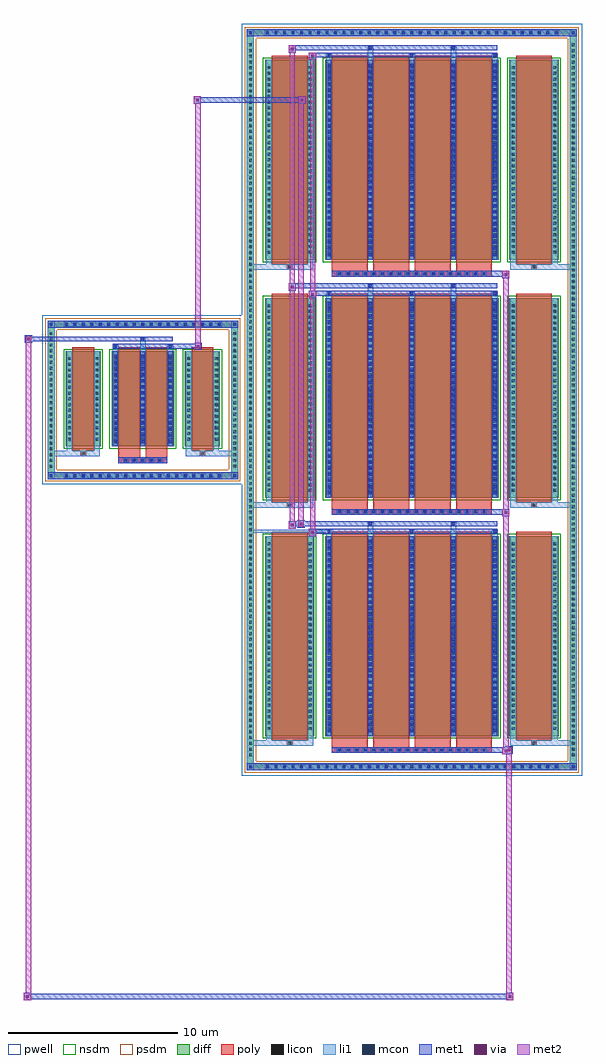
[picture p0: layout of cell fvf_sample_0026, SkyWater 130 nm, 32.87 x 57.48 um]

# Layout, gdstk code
import gdstk
lib = gdstk.Library(unit=1e-6, precision=1e-09)
def R(c, l, rs):  # rectangles x0, y0, x1, y1
    for r in rs: c.add(gdstk.rectangle(r[:2], r[2:], *l))
def A(c, l, x, y, w, h, nx, ny, dx, dy):  # array of equal rectangles
    R(c, l, [(x+i*dx, y+j*dy, x+i*dx+w, y+j*dy+h) for i in range(nx) for j in range(ny)])
def P(c, l, *ps):  # polygons
    for p in ps: c.add(gdstk.Polygon(p, *l))
pwell = (64, 44)
diff = (65, 20)
poly = (66, 20)
licon = (66, 44)
li1 = (67, 20)
mcon = (67, 44)
met1 = (68, 20)
via = (68, 44)
met2 = (69, 20)
nsdm = (93, 44)
psdm = (94, 20)

fvf_sample_0026 = lib.new_cell('fvf_sample_0026')
R(fvf_sample_0026, pwell, [(5.823,-22.136,25.865,22.136), (-5.923,-4.977,5.923,4.977)])
A(fvf_sample_0026, diff, 7.139, -21.826, 0.41, 0.41, 35, 2, 0.5, 43.242)
A(fvf_sample_0026, diff, 6.133, -21.115, 0.41, 0.41, 1, 124, 0, 0.34)
A(fvf_sample_0026, diff, 25.145, -21.115, 0.41, 0.41, 1, 124, 0, 0.34)
A(fvf_sample_0026, diff, 7.203, -19.805, 2.892, 11.778, 1, 3, 0, 14.024)
A(fvf_sample_0026, diff, 10.735, -19.805, 10.218, 11.778, 1, 3, 0, 14.024)
A(fvf_sample_0026, diff, 21.593, -19.805, 2.892, 11.778, 1, 3, 0, 14.024)
A(fvf_sample_0026, diff, -4.705, -4.667, 0.41, 0.41, 19, 2, 0.5, 8.924)
A(fvf_sample_0026, diff, -5.613, -4.115, 0.41, 0.41, 1, 24, 0, 0.34)
A(fvf_sample_0026, diff, 5.203, -4.115, 0.41, 0.41, 1, 24, 0, 0.34)
R(fvf_sample_0026, diff, [(7.139,-21.826,24.549,-21.416), (6.133,-21.115,6.543,21.115), (25.145,-21.115,25.555,21.115), (-4.705,-4.667,4.705,-4.257), (-5.613,-4.115,-5.203,4.115), (5.203,-4.115,5.613,4.115), (-4.543,-2.746,-2.479,2.862), (-1.839,-2.746,1.839,2.862), (2.479,-2.746,4.543,2.862), (-4.705,4.257,4.705,4.667), (7.139,21.416,24.549,21.826)])
P(fvf_sample_0026, diff, [(5.613,4.667),(-5.613,4.667),(-5.613,-4.257),(-5.203,-4.257),(-5.203,4.257),(5.203,4.257),(5.203,-4.257),(-5.203,-4.257),(-5.613,-4.257),(-5.613,-4.667),(5.613,-4.667)],
  [(25.555,21.826),(6.133,21.826),(6.133,-21.416),(6.543,-21.416),(6.543,21.416),(25.145,21.416),(25.145,-21.416),(6.543,-21.416),(6.133,-21.416),(6.133,-21.826),(25.555,-21.826)])
A(fvf_sample_0026, poly, 11.125, -20.786, 9.438, 0.33, 1, 3, 0, 14.024)
A(fvf_sample_0026, poly, 11.429, -20.786, 0.33, 0.33, 18, 3, 0.5, 14.024)
A(fvf_sample_0026, poly, 11.125, -20.456, 2.112, 0.401, 4, 3, 2.442, 14.024)
A(fvf_sample_0026, poly, 7.593, -20.055, 2.112, 12.278, 1, 3, 0, 14.024)
A(fvf_sample_0026, poly, 11.125, -20.055, 2.112, 12.278, 4, 3, 2.442, 14.024)
A(fvf_sample_0026, poly, 21.983, -20.055, 2.112, 12.278, 1, 3, 0, 14.024)
A(fvf_sample_0026, poly, -1.165, -3.726, 0.33, 0.33, 5, 1, 0.5, 0)
R(fvf_sample_0026, poly, [(8.484,-20.385,8.814,-20.055), (8.484,-20.385,8.814,-20.055), (22.874,-20.385,23.204,-20.055), (22.874,-20.385,23.204,-20.055), (8.484,-6.361,8.814,-6.031), (8.484,-6.361,8.814,-6.031), (22.874,-6.361,23.204,-6.031), (22.874,-6.361,23.204,-6.031), (-1.449,-3.726,1.449,-3.396), (-1.449,-3.396,-0.165,-2.996), (0.165,-3.396,1.449,-2.996), (-3.676,-3.326,-3.346,-2.996), (-3.676,-3.326,-3.346,-2.996), (3.346,-3.326,3.676,-2.996), (3.346,-3.326,3.676,-2.996), (-4.153,-2.996,-2.869,3.112), (-1.449,-2.996,-0.165,3.112), (0.165,-2.996,1.449,3.112), (2.869,-2.996,4.153,3.112), (8.484,7.663,8.814,7.993), (8.484,7.663,8.814,7.993), (22.874,7.663,23.204,7.993), (22.874,7.663,23.204,7.993)])
A(fvf_sample_0026, licon, 7.259, -21.706, 0.17, 0.17, 35, 2, 0.5, 43.242)
A(fvf_sample_0026, licon, 6.253, -20.995, 0.17, 0.17, 1, 124, 0, 0.34)
A(fvf_sample_0026, licon, 25.265, -20.995, 0.17, 0.17, 1, 124, 0, 0.34)
A(fvf_sample_0026, licon, 11.509, -20.706, 0.17, 0.17, 18, 3, 0.5, 14.024)
A(fvf_sample_0026, licon, 8.564, -20.305, 0.17, 0.17, 1, 3, 0, 14.024)
A(fvf_sample_0026, licon, 22.954, -20.305, 0.17, 0.17, 1, 3, 0, 14.024)
A(fvf_sample_0026, licon, 7.343, -19.441, 0.17, 0.17, 1, 33, 0, 0.34)
A(fvf_sample_0026, licon, 9.785, -19.441, 0.17, 0.17, 1, 33, 0, 0.34)
A(fvf_sample_0026, licon, 10.875, -19.441, 0.17, 0.17, 5, 33, 2.442, 0.34)
A(fvf_sample_0026, licon, 21.733, -19.441, 0.17, 0.17, 1, 33, 0, 0.34)
A(fvf_sample_0026, licon, 24.175, -19.441, 0.17, 0.17, 1, 33, 0, 0.34)
A(fvf_sample_0026, licon, 7.343, -5.417, 0.17, 0.17, 1, 33, 0, 0.34)
A(fvf_sample_0026, licon, 9.785, -5.417, 0.17, 0.17, 1, 33, 0, 0.34)
A(fvf_sample_0026, licon, 10.875, -5.417, 0.17, 0.17, 5, 33, 2.442, 0.34)
A(fvf_sample_0026, licon, 21.733, -5.417, 0.17, 0.17, 1, 33, 0, 0.34)
A(fvf_sample_0026, licon, 24.175, -5.417, 0.17, 0.17, 1, 33, 0, 0.34)
A(fvf_sample_0026, licon, -4.585, -4.547, 0.17, 0.17, 19, 2, 0.5, 8.924)
A(fvf_sample_0026, licon, -5.493, -3.995, 0.17, 0.17, 1, 24, 0, 0.34)
A(fvf_sample_0026, licon, 5.323, -3.995, 0.17, 0.17, 1, 24, 0, 0.34)
A(fvf_sample_0026, licon, -1.085, -3.646, 0.17, 0.17, 5, 1, 0.5, 0)
A(fvf_sample_0026, licon, -4.403, -2.407, 0.17, 0.17, 1, 15, 0, 0.34)
A(fvf_sample_0026, licon, -2.789, -2.407, 0.17, 0.17, 1, 15, 0, 0.34)
A(fvf_sample_0026, licon, -1.699, -2.407, 0.17, 0.17, 3, 15, 1.614, 0.34)
A(fvf_sample_0026, licon, 2.619, -2.407, 0.17, 0.17, 1, 15, 0, 0.34)
A(fvf_sample_0026, licon, 4.233, -2.407, 0.17, 0.17, 1, 15, 0, 0.34)
A(fvf_sample_0026, licon, 7.343, 8.607, 0.17, 0.17, 1, 33, 0, 0.34)
A(fvf_sample_0026, licon, 9.785, 8.607, 0.17, 0.17, 1, 33, 0, 0.34)
A(fvf_sample_0026, licon, 10.875, 8.607, 0.17, 0.17, 5, 33, 2.442, 0.34)
A(fvf_sample_0026, licon, 21.733, 8.607, 0.17, 0.17, 1, 33, 0, 0.34)
A(fvf_sample_0026, licon, 24.175, 8.607, 0.17, 0.17, 1, 33, 0, 0.34)
R(fvf_sample_0026, licon, [(-3.596,-3.246,-3.426,-3.076), (3.426,-3.246,3.596,-3.076)])
A(fvf_sample_0026, li1, 7.179, -21.786, 0.33, 0.33, 35, 2, 0.5, 43.242)
A(fvf_sample_0026, li1, 6.173, -21.075, 0.33, 0.33, 1, 124, 0, 0.34)
A(fvf_sample_0026, li1, 25.185, -21.075, 0.33, 0.33, 1, 124, 0, 0.34)
A(fvf_sample_0026, li1, 11.429, -20.786, 0.33, 0.33, 18, 3, 0.5, 14.024)
A(fvf_sample_0026, li1, 6.133, -20.385, 2.351, 0.33, 1, 3, 0, 14.024)
A(fvf_sample_0026, li1, 7.263, -20.385, 0.33, 0.58, 1, 3, 0, 14.024)
A(fvf_sample_0026, li1, 7.263, -20.385, 1.221, 0.33, 1, 3, 0, 14.024)
A(fvf_sample_0026, li1, 8.484, -20.385, 0.33, 0.33, 1, 3, 0, 14.024)
A(fvf_sample_0026, li1, 8.814, -20.385, 1.221, 0.33, 1, 3, 0, 14.024)
A(fvf_sample_0026, li1, 9.705, -20.385, 0.33, 0.58, 1, 3, 0, 14.024)
A(fvf_sample_0026, li1, 21.653, -20.385, 0.33, 0.58, 1, 3, 0, 14.024)
A(fvf_sample_0026, li1, 21.653, -20.385, 1.221, 0.33, 1, 3, 0, 14.024)
A(fvf_sample_0026, li1, 22.874, -20.385, 0.33, 0.33, 1, 3, 0, 14.024)
A(fvf_sample_0026, li1, 22.874, -20.385, 2.681, 0.33, 1, 3, 0, 14.024)
A(fvf_sample_0026, li1, 23.204, -20.385, 1.221, 0.33, 1, 3, 0, 14.024)
A(fvf_sample_0026, li1, 24.095, -20.385, 0.33, 0.58, 1, 3, 0, 14.024)
A(fvf_sample_0026, li1, 7.263, -19.805, 0.33, 11.778, 1, 3, 0, 14.024)
A(fvf_sample_0026, li1, 9.705, -19.805, 0.33, 11.778, 1, 3, 0, 14.024)
A(fvf_sample_0026, li1, 10.795, -19.805, 0.33, 11.778, 5, 3, 2.442, 14.024)
A(fvf_sample_0026, li1, 21.653, -19.805, 0.33, 11.778, 1, 3, 0, 14.024)
A(fvf_sample_0026, li1, 24.095, -19.805, 0.33, 11.778, 1, 3, 0, 14.024)
A(fvf_sample_0026, li1, 10.875, -19.581, 0.17, 0.17, 5, 32, 2.442, 0.36)
A(fvf_sample_0026, li1, 10.875, -19.581, 0.17, 11.33, 5, 3, 2.442, 14.024)
A(fvf_sample_0026, li1, 7.263, -19.521, 0.33, 0.33, 1, 33, 0, 0.34)
A(fvf_sample_0026, li1, 9.705, -19.521, 0.33, 0.33, 1, 33, 0, 0.34)
A(fvf_sample_0026, li1, 10.795, -19.521, 0.33, 0.33, 5, 33, 2.442, 0.34)
A(fvf_sample_0026, li1, 21.653, -19.521, 0.33, 0.33, 1, 33, 0, 0.34)
A(fvf_sample_0026, li1, 24.095, -19.521, 0.33, 0.33, 1, 33, 0, 0.34)
A(fvf_sample_0026, li1, 10.795, -8.027, 0.33, 0.375, 3, 3, 4.884, 14.024)
A(fvf_sample_0026, li1, 13.237, -8.027, 0.33, 0.805, 1, 3, 0, 14.024)
A(fvf_sample_0026, li1, 18.121, -8.027, 0.33, 0.805, 1, 3, 0, 14.024)
A(fvf_sample_0026, li1, 10.875, -7.822, 0.17, 0.17, 3, 3, 4.884, 14.024)
A(fvf_sample_0026, li1, 13.317, -7.392, 0.17, 0.17, 1, 3, 0, 14.024)
A(fvf_sample_0026, li1, 18.201, -7.392, 0.17, 0.17, 1, 3, 0, 14.024)
A(fvf_sample_0026, li1, 10.875, -5.557, 0.17, 0.17, 5, 32, 2.442, 0.36)
A(fvf_sample_0026, li1, 7.263, -5.497, 0.33, 0.33, 1, 33, 0, 0.34)
A(fvf_sample_0026, li1, 9.705, -5.497, 0.33, 0.33, 1, 33, 0, 0.34)
A(fvf_sample_0026, li1, 10.795, -5.497, 0.33, 0.33, 5, 33, 2.442, 0.34)
A(fvf_sample_0026, li1, 21.653, -5.497, 0.33, 0.33, 1, 33, 0, 0.34)
A(fvf_sample_0026, li1, 24.095, -5.497, 0.33, 0.33, 1, 33, 0, 0.34)
A(fvf_sample_0026, li1, -4.665, -4.627, 0.33, 0.33, 19, 2, 0.5, 8.924)
A(fvf_sample_0026, li1, -5.573, -4.075, 0.33, 0.33, 1, 24, 0, 0.34)
A(fvf_sample_0026, li1, 5.243, -4.075, 0.33, 0.33, 1, 24, 0, 0.34)
A(fvf_sample_0026, li1, -1.165, -3.726, 0.33, 0.33, 5, 1, 0.5, 0)
A(fvf_sample_0026, li1, -1.779, -2.746, 0.33, 5.608, 3, 1, 1.614, 0)
A(fvf_sample_0026, li1, -1.699, -2.547, 0.17, 0.17, 3, 15, 1.614, 0.36)
A(fvf_sample_0026, li1, -1.699, -2.547, 0.17, 5.21, 3, 1, 1.614, 0)
A(fvf_sample_0026, li1, -4.483, -2.487, 0.33, 0.33, 1, 15, 0, 0.34)
A(fvf_sample_0026, li1, -2.869, -2.487, 0.33, 0.33, 1, 15, 0, 0.34)
A(fvf_sample_0026, li1, -1.779, -2.487, 0.33, 0.33, 3, 15, 1.614, 0.34)
A(fvf_sample_0026, li1, 2.539, -2.487, 0.33, 0.33, 1, 15, 0, 0.34)
A(fvf_sample_0026, li1, 4.153, -2.487, 0.33, 0.33, 1, 15, 0, 0.34)
A(fvf_sample_0026, li1, 10.875, 8.467, 0.17, 0.17, 5, 32, 2.442, 0.36)
A(fvf_sample_0026, li1, 7.263, 8.527, 0.33, 0.33, 1, 33, 0, 0.34)
A(fvf_sample_0026, li1, 9.705, 8.527, 0.33, 0.33, 1, 33, 0, 0.34)
A(fvf_sample_0026, li1, 10.795, 8.527, 0.33, 0.33, 5, 33, 2.442, 0.34)
A(fvf_sample_0026, li1, 21.653, 8.527, 0.33, 0.33, 1, 33, 0, 0.34)
A(fvf_sample_0026, li1, 24.095, 8.527, 0.33, 0.33, 1, 33, 0, 0.34)
R(fvf_sample_0026, li1, [(6.133,-21.826,6.543,-21.416), (25.145,-21.826,25.555,-21.416), (7.179,-21.786,24.509,-21.456), (6.253,-21.706,6.423,-21.536), (6.253,-21.706,6.423,-21.536), (25.265,-21.706,25.435,-21.536), (25.265,-21.706,25.435,-21.536), (6.133,-21.416,6.543,21.416), (25.145,-21.416,25.555,21.416), (10.815,-7.882,11.105,-7.592), (6.133,-7.837,10.815,-7.637), (10.875,-7.822,11.045,-7.652), (-5.613,-4.667,-5.203,-4.257), (5.203,-4.667,5.613,-4.257), (-4.665,-4.627,4.665,-4.297), (-5.493,-4.547,-5.323,-4.377), (-5.493,-4.547,-5.323,-4.377), (5.323,-4.547,5.493,-4.377), (5.323,-4.547,5.493,-4.377), (-5.613,-4.257,-5.203,4.257), (5.203,-4.257,5.613,4.257), (-5.613,-3.326,-3.676,-2.996), (-4.483,-3.326,-3.676,-2.996), (-4.483,-3.326,-4.153,-2.746), (-3.676,-3.326,-3.346,-2.996), (-3.346,-3.326,-2.539,-2.996), (-2.869,-3.326,-2.539,-2.746), (2.539,-3.326,3.346,-2.996), (2.539,-3.326,2.869,-2.746), (3.346,-3.326,3.676,-2.996), (3.346,-3.326,5.613,-2.996), (3.676,-3.326,4.483,-2.996), (4.153,-3.326,4.483,-2.746), (-4.483,-2.746,-4.153,2.862), (-2.869,-2.746,-2.539,2.862), (2.539,-2.746,2.869,2.862), (4.153,-2.746,4.483,2.862), (-1.779,2.862,-1.449,3.237), (-0.165,2.862,0.165,3.667), (1.449,2.862,1.779,3.237), (-1.699,3.067,-1.529,3.237), (1.529,3.067,1.699,3.237), (-0.085,3.497,0.085,3.667), (-5.613,4.257,-5.203,4.667), (5.203,4.257,5.613,4.667), (-4.665,4.297,4.665,4.627), (-5.493,4.377,-5.323,4.547), (-5.493,4.377,-5.323,4.547), (5.323,4.377,5.493,4.547), (5.323,4.377,5.493,4.547), (6.133,21.416,6.543,21.826), (25.145,21.416,25.555,21.826), (7.179,21.456,24.509,21.786), (6.253,21.536,6.423,21.706), (6.253,21.536,6.423,21.706), (25.265,21.536,25.435,21.706), (25.265,21.536,25.435,21.706)])
A(fvf_sample_0026, mcon, 7.259, -21.706, 0.17, 0.17, 35, 2, 0.5, 43.242)
A(fvf_sample_0026, mcon, 11.509, -20.706, 0.17, 0.17, 18, 3, 0.5, 14.024)
A(fvf_sample_0026, mcon, 10.875, -19.581, 0.17, 0.17, 5, 32, 2.442, 0.36)
A(fvf_sample_0026, mcon, 10.875, -7.822, 0.17, 0.17, 3, 3, 4.884, 14.024)
A(fvf_sample_0026, mcon, 13.317, -7.392, 0.17, 0.17, 1, 3, 0, 14.024)
A(fvf_sample_0026, mcon, 18.201, -7.392, 0.17, 0.17, 1, 3, 0, 14.024)
A(fvf_sample_0026, mcon, 10.875, -5.557, 0.17, 0.17, 5, 32, 2.442, 0.36)
A(fvf_sample_0026, mcon, -4.585, -4.547, 0.17, 0.17, 19, 2, 0.5, 8.924)
A(fvf_sample_0026, mcon, -1.085, -3.646, 0.17, 0.17, 5, 1, 0.5, 0)
A(fvf_sample_0026, mcon, -1.699, -2.547, 0.17, 0.17, 3, 15, 1.614, 0.36)
A(fvf_sample_0026, mcon, 10.875, 8.467, 0.17, 0.17, 5, 32, 2.442, 0.36)
R(fvf_sample_0026, mcon, [(6.253,-21.706,6.423,-21.536), (25.265,-21.706,25.435,-21.536), (10.875,-7.822,11.045,-7.652), (-5.493,-4.547,-5.323,-4.377), (5.323,-4.547,5.493,-4.377), (-1.699,3.067,-1.529,3.237), (1.529,3.067,1.699,3.237), (-0.085,3.497,0.085,3.667), (-5.493,4.377,-5.323,4.547), (5.323,4.377,5.493,4.547), (6.253,21.536,6.423,21.706), (25.265,21.536,25.435,21.706)])
A(fvf_sample_0026, met1, 7.199, -21.766, 0.29, 0.29, 35, 2, 0.5, 43.242)
A(fvf_sample_0026, met1, 11.125, -20.786, 9.438, 0.33, 1, 3, 0, 14.024)
A(fvf_sample_0026, met1, 11.449, -20.766, 0.29, 0.29, 18, 3, 0.5, 14.024)
A(fvf_sample_0026, met1, 10.815, -19.805, 0.29, 11.778, 5, 3, 2.442, 14.024)
A(fvf_sample_0026, met1, 10.815, -19.641, 0.29, 0.29, 5, 32, 2.442, 0.36)
A(fvf_sample_0026, met1, 10.815, -7.882, 0.29, 0.29, 3, 3, 4.884, 14.024)
A(fvf_sample_0026, met1, 13.257, -7.452, 0.29, 0.29, 1, 3, 0, 14.024)
A(fvf_sample_0026, met1, 18.141, -7.452, 0.29, 0.29, 1, 3, 0, 14.024)
A(fvf_sample_0026, met1, 10.815, -5.617, 0.29, 0.29, 5, 32, 2.442, 0.36)
A(fvf_sample_0026, met1, -4.645, -4.607, 0.29, 0.29, 19, 2, 0.5, 8.924)
A(fvf_sample_0026, met1, -1.145, -3.706, 0.29, 0.29, 5, 1, 0.5, 0)
A(fvf_sample_0026, met1, -1.759, -2.746, 0.29, 5.608, 3, 1, 1.614, 0)
A(fvf_sample_0026, met1, -1.759, -2.607, 0.29, 0.29, 3, 15, 1.614, 0.36)
A(fvf_sample_0026, met1, 10.815, 8.407, 0.29, 0.29, 5, 32, 2.442, 0.36)
R(fvf_sample_0026, met1, [(-7.001,-35.348,-6.571,-34.918), (21.398,-35.348,21.828,-34.918), (-7.001,-35.298,21.828,-34.968), (-7.001,-34.968,-6.571,-34.918), (21.398,-34.968,21.828,-34.918), (6.133,-21.826,6.543,-21.416), (6.133,-21.826,6.543,-21.416), (6.543,-21.826,25.145,-21.416), (25.145,-21.826,25.555,-21.416), (25.145,-21.826,25.555,-21.416), (6.193,-21.766,6.483,-21.476), (25.205,-21.766,25.495,-21.476), (21.163,-20.886,21.593,-20.456), (21.348,-20.836,21.778,-20.406), (20.563,-20.786,21.348,-20.456), (20.563,-20.786,21.593,-20.456), (9.785,-8.022,10.215,-7.592), (9.785,-7.882,10.815,-7.592), (10.815,-7.882,11.105,-7.592), (10.815,-7.882,20.873,-7.592), (8.585,-7.592,9.015,-7.162), (9.1,-7.522,9.53,-7.092), (8.585,-7.452,10.815,-7.162), (9.53,-7.452,10.815,-7.162), (10.815,-7.452,20.873,-7.162), (21.163,-6.862,21.593,-6.432), (21.163,-6.862,21.593,-6.432), (20.563,-6.762,21.593,-6.432), (20.563,-6.762,21.593,-6.432), (-5.613,-4.667,-5.203,-4.257), (-5.613,-4.667,-5.203,-4.257), (-5.203,-4.667,5.203,-4.257), (5.203,-4.667,5.613,-4.257), (5.203,-4.667,5.613,-4.257), (-5.553,-4.607,-5.263,-4.317), (5.263,-4.607,5.553,-4.317), (-1.449,-3.726,1.449,-3.396), (3.044,2.937,3.474,3.367), (-1.759,3.007,-1.469,3.297), (-1.759,3.007,1.759,3.297), (1.469,3.007,1.759,3.297), (1.759,3.007,3.044,3.297), (-6.951,3.367,-6.521,3.797), (-6.521,3.437,-1.759,3.727), (-1.759,3.437,1.759,3.727), (-0.145,3.437,0.145,3.727), (-5.613,4.257,-5.203,4.667), (-5.613,4.257,-5.203,4.667), (-5.203,4.257,5.203,4.667), (5.203,4.257,5.613,4.667), (5.203,4.257,5.613,4.667), (-5.553,4.317,-5.263,4.607), (5.263,4.317,5.553,4.607), (9.785,6.002,10.215,6.432), (9.785,6.002,10.215,6.432), (9.785,6.142,10.815,6.432), (9.785,6.142,10.815,6.432), (10.815,6.142,20.873,6.432), (8.585,6.432,9.015,6.862), (8.585,6.432,9.015,6.862), (8.585,6.572,10.815,6.862), (8.585,6.572,10.815,6.862), (10.815,6.572,20.873,6.862), (21.163,7.162,21.593,7.592), (20.563,7.262,21.593,7.592), (2.994,17.449,3.424,17.879), (9.15,17.449,9.58,17.879), (2.994,17.499,9.58,17.829), (2.994,17.829,3.424,17.879), (9.15,17.829,9.58,17.879), (9.785,20.026,10.215,20.456), (9.785,20.166,10.815,20.456), (10.815,20.166,20.873,20.456), (8.585,20.456,9.015,20.886), (8.585,20.596,10.815,20.886), (10.815,20.596,20.873,20.886), (6.133,21.416,6.543,21.826), (6.133,21.416,6.543,21.826), (6.543,21.416,25.145,21.826), (25.145,21.416,25.555,21.826), (25.145,21.416,25.555,21.826), (6.193,21.476,6.483,21.766), (25.205,21.476,25.495,21.766)])
R(fvf_sample_0026, via, [(-6.861,-35.208,-6.711,-35.058), (21.538,-35.208,21.688,-35.058), (21.303,-20.746,21.453,-20.596), (21.488,-20.696,21.638,-20.546), (9.925,-7.882,10.075,-7.732), (8.725,-7.452,8.875,-7.302), (9.24,-7.382,9.39,-7.232), (21.303,-6.722,21.453,-6.572), (21.303,-6.722,21.453,-6.572), (3.184,3.077,3.334,3.227), (-6.811,3.507,-6.661,3.657), (9.925,6.142,10.075,6.292), (9.925,6.142,10.075,6.292), (8.725,6.572,8.875,6.722), (8.725,6.572,8.875,6.722), (21.303,7.302,21.453,7.452), (3.134,17.589,3.284,17.739), (9.29,17.589,9.44,17.739), (9.925,20.166,10.075,20.316), (8.725,20.596,8.875,20.746)])
R(fvf_sample_0026, met2, [(-7.001,-35.348,-6.571,-34.918), (-6.901,-35.348,-6.571,3.417), (21.398,-35.348,21.828,-34.918), (21.398,-35.348,21.728,-20.786), (-6.951,-35.298,-6.621,-34.968), (21.448,-35.298,21.778,-34.968), (21.163,-20.886,21.593,-20.456), (21.213,-20.886,21.543,-6.432), (21.543,-20.886,21.593,-20.456), (21.213,-20.836,21.543,-20.506), (21.398,-20.786,21.728,-20.456), (9.785,-8.022,10.215,-7.592), (9.855,-8.022,10.145,6.432), (10.145,-8.022,10.215,-7.592), (9.835,-7.972,10.165,-7.642), (8.585,-7.592,9.015,-7.162), (8.655,-7.592,8.945,6.862), (8.945,-7.592,9.015,-7.162), (8.635,-7.542,8.965,-7.212), (9.15,-7.472,9.48,-7.142), (9.15,-7.142,9.48,17.879), (21.163,-6.862,21.593,-6.432), (21.163,-6.862,21.593,-6.432), (21.213,-6.862,21.543,7.592), (21.543,-6.862,21.593,-6.432), (21.543,-6.862,21.593,-6.432), (21.213,-6.812,21.543,-6.482), (21.213,-6.812,21.543,-6.482), (3.094,2.987,3.424,3.317), (3.094,3.317,3.424,17.879), (-6.901,3.417,-6.571,3.747), (9.785,6.002,10.215,6.432), (9.785,6.002,10.215,6.432), (9.855,6.002,10.145,20.456), (10.145,6.002,10.215,6.432), (10.145,6.002,10.215,6.432), (9.835,6.052,10.165,6.382), (9.835,6.052,10.165,6.382), (8.585,6.432,9.015,6.862), (8.585,6.432,9.015,6.862), (8.655,6.432,8.945,20.886), (8.945,6.432,9.015,6.862), (8.945,6.432,9.015,6.862), (8.635,6.482,8.965,6.812), (8.635,6.482,8.965,6.812), (21.163,7.162,21.593,7.592), (21.543,7.162,21.593,7.592), (21.213,7.212,21.543,7.542), (2.994,17.449,3.424,17.879), (9.15,17.449,9.58,17.879), (3.044,17.499,3.374,17.829), (9.2,17.499,9.53,17.829), (9.785,20.026,10.215,20.456), (10.145,20.026,10.215,20.456), (9.835,20.076,10.165,20.406), (8.585,20.456,9.015,20.886), (8.945,20.456,9.015,20.886), (8.635,20.506,8.965,20.836)])
A(fvf_sample_0026, nsdm, 7.073, -19.935, 3.152, 12.038, 1, 3, 0, 14.024)
A(fvf_sample_0026, nsdm, 10.605, -19.935, 10.478, 12.038, 1, 3, 0, 14.024)
A(fvf_sample_0026, nsdm, 21.463, -19.935, 3.152, 12.038, 1, 3, 0, 14.024)
R(fvf_sample_0026, nsdm, [(-4.673,-2.876,-2.349,2.992), (-1.969,-2.876,1.969,2.992), (2.349,-2.876,4.673,2.992)])
P(fvf_sample_0026, psdm, [(5.743,4.797),(-5.743,4.797),(-5.743,-4.127),(-5.073,-4.127),(-5.073,4.127),(5.073,4.127),(5.073,-4.127),(-5.073,-4.127),(-5.743,-4.127),(-5.743,-4.797),(5.743,-4.797)],
  [(25.685,21.956),(6.003,21.956),(6.003,-21.286),(6.673,-21.286),(6.673,21.286),(25.015,21.286),(25.015,-21.286),(6.673,-21.286),(6.003,-21.286),(6.003,-21.956),(25.685,-21.956)])

lib.write_gds('fvf_sample_0026.gds')
